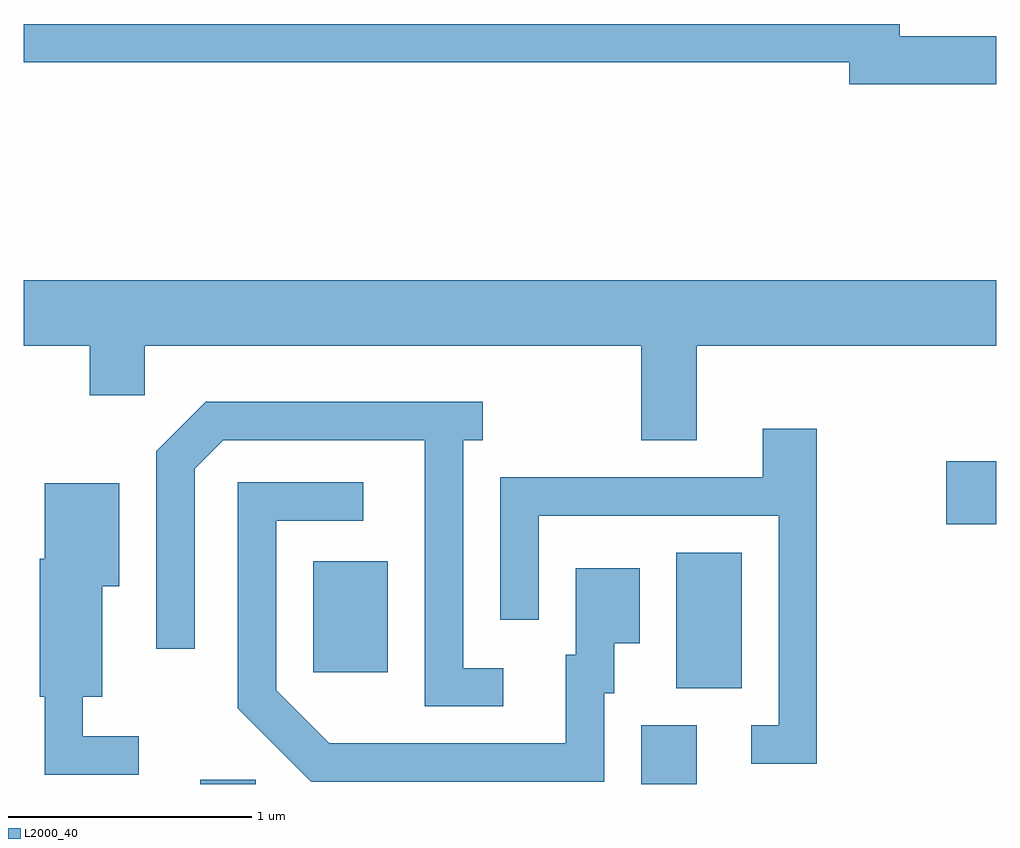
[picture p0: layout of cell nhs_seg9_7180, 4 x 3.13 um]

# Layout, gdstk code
import gdstk
lib = gdstk.Library(unit=1e-6, precision=1e-09)
def R(c, l, rs):  # rectangles x0, y0, x1, y1
    for r in rs: c.add(gdstk.rectangle(r[:2], r[2:], *l))
def P(c, l, *ps):  # polygons
    for p in ps: c.add(gdstk.Polygon(p, *l))
L2000_40 = (2000, 40)

nhs_seg9_7180 = lib.new_cell('nhs_seg9_7180')
R(nhs_seg9_7180, L2000_40, [(398.336,2014.432,398.564,2014.449), (400.151,2014.432,400.379,2014.674), (400.296,2014.826,400.564,2015.384), (398.801,2014.891,399.109,2015.349), (401.406,2015.501,401.611,2015.759)])
P(nhs_seg9_7180, L2000_40, [(401.611,2017.509),(401.214,2017.509),(401.214,2017.559),(397.611,2017.559),(397.611,2017.401),(401.006,2017.401),(401.006,2017.311),(401.611,2017.311)],
  [(400.379,2016.236),(401.611,2016.236),(401.611,2016.504),(397.611,2016.504),(397.611,2016.236),(397.881,2016.236),(397.881,2016.031),(398.109,2016.031),(398.109,2016.236),(400.151,2016.236),(400.151,2015.846),(400.379,2015.846)],
  [(399.583,2014.909),(399.419,2014.909),(399.419,2015.846),(399.498,2015.846),(399.498,2016.004),(398.359,2016.004),(398.156,2015.802),(398.156,2014.988),(398.314,2014.988),(398.314,2015.729),(398.432,2015.846),(399.261,2015.846),(399.261,2014.751),(399.583,2014.751)],
  [(400.874,2015.894),(400.651,2015.894),(400.651,2015.694),(399.571,2015.694),(399.571,2015.108),(399.729,2015.108),(399.729,2015.536),(400.716,2015.536),(400.716,2014.674),(400.603,2014.674),(400.603,2014.516),(400.874,2014.516)],
  [(399.999,2014.806),(400.039,2014.806),(400.039,2015.011),(400.144,2015.011),(400.144,2015.319),(399.881,2015.319),(399.881,2014.964),(399.841,2014.964),(399.841,2014.599),(398.867,2014.599),(398.649,2014.817),(398.649,2015.516),(399.008,2015.516),(399.008,2015.674),(398.491,2015.674),(398.491,2014.744),(398.794,2014.441),(399.999,2014.441)],
  [(398.083,2014.629),(397.854,2014.629),(397.854,2014.791),(397.934,2014.791),(397.934,2015.246),(398.004,2015.246),(398.004,2015.669),(397.696,2015.669),(397.696,2015.359),(397.676,2015.359),(397.676,2014.791),(397.696,2014.791),(397.696,2014.471),(398.083,2014.471)])

lib.write_gds('nhs_seg9_7180.gds')
